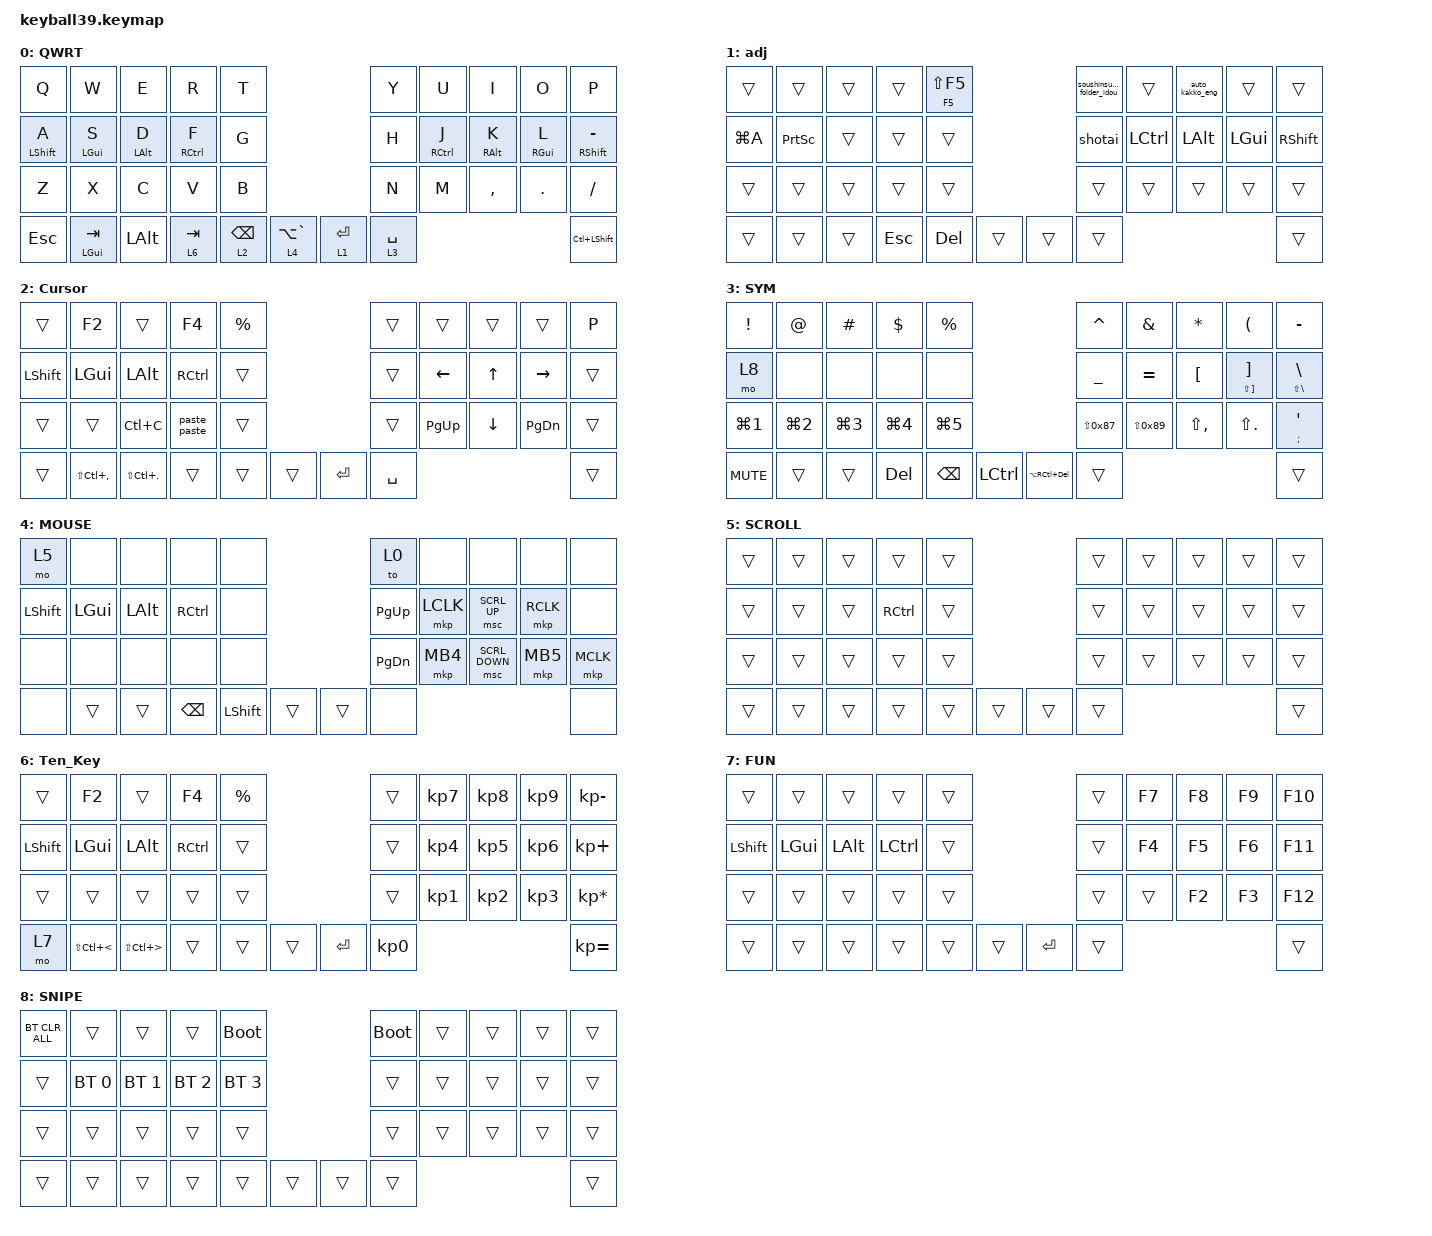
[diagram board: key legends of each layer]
#define DEFAULT 0
#define ADJUSTMENT 1
#define NUM     2
#define SYM     3
#define MOUSE   4
#define SCROLL  5
#define FUN     6
#define SNIPE   7

// OS設定を日本語キーボードのまま使用するための変換定義

#define JP_DQUOTE       AT                // "
#define JP_AMPERSAND    CARET             // &
#define JP_QUOTE        AMPERSAND         // '
#define JP_EQUAL        UNDER             // =
#define JP_CARET        EQUAL             // ^
#define JP_YEN          0x89              // ¥
#define JP_PLUS         COLON             // +
#define JP_TILDE        PLUS              // ~
#define JP_PIPE         LS(0x89)          // |
#define JP_AT           LEFT_BRACKET      // @
#define JP_COLON        SINGLE_QUOTE      // :
#define JP_ASTERISK     DOUBLE_QUOTES     // *
#define JP_BACKQUOTE    LEFT_BRACE        // `
#define JP_UNDERSCORE   LS(0x87)          // _
#define JP_LBRACKET     RIGHT_BRACKET     // [
#define JP_RBRACKET     BACKSLASH         // ]
#define JP_LPAREN       ASTERISK          // (
#define JP_RPAREN       LEFT_PARENTHESIS  // )
#define JP_LBRACE       RIGHT_BRACE       // {
#define JP_RBRACE       PIPE              // }
#define JP_KANA         LANGUAGE_1        // かな
#define JP_EISU         LANGUAGE_2        // 英数
#define JP_HANZEN       GRAVE             // 半角/全角

#include <behaviors/mouse_keys.dtsi>
#include <dt-bindings/zmk/mouse.h>
#include <behaviors.dtsi>
#include <dt-bindings/zmk/bt.h>
#include <dt-bindings/zmk/keys.h>
#include <dt-bindings/zmk/pointing.h>

&lt {
    tapping-term-ms = <170>;
    flavor = "tap-preferred";
    quick-tap-ms = <170>;
};

&mt {
    tapping-term-ms = <170>;
    flavor = "tap-preferred";
    quick-tap-ms = <170>;
};

&caps_word { continue-list = <UNDERSCORE MINUS>; };

/ {
    // custom shift using mod-morph 

    behaviors {
        cmqus: comma_question {
            compatible = "zmk,behavior-mod-morph";
            label = "COMMA_QUESTION";
            #binding-cells = <0>;
            bindings = <&kp COMMA>, <&kp QUESTION>;

            mods = <(MOD_LSFT|MOD_RSFT)>;
        };

        dtsmi: dot_semi {
            compatible = "zmk,behavior-mod-morph";
            label = "DOT_SEMI";
            #binding-cells = <0>;
            bindings = <&kp DOT>, <&kp SEMI>;

            mods = <(MOD_LSFT|MOD_RSFT)>;
        };

        shisokuenzan: shisokuenzan {
            compatible = "zmk,behavior-tap-dance";
            label = "SHISOKUENZAN";
            #binding-cells = <0>;
            bindings = <&kp KP_ASTERISK>, <&kp KP_DIVIDE>, <&kp KP_EQUAL>;

            tapping-term-ms = <200>;
        };

        paste_paste: paste_paste {
            compatible = "zmk,behavior-tap-dance";
            label = "PASTE_PASTE";
            #binding-cells = <0>;
            bindings = <&kp LC(V)>, <&suuchinomi_paste>;
        };

        kakko: kakko {
            compatible = "zmk,behavior-tap-dance";
            label = "KAKKO";
            #binding-cells = <0>;
            bindings = <&kp LS(N8)>, <&kp LS(N9)>;
        };
    };

    macros {
        Hiragana: Hiragana {
            compatible = "zmk,behavior-macro";
            #binding-cells = <0>;
            bindings = <&kp LC(SPACE)>;
            label = "HIRAGANA";
        };

        shotai: new_macro {
            compatible = "zmk,behavior-macro";
            #binding-cells = <0>;
            bindings = <&kp LEFT_ALT &kp H &kp F &kp F>;
            label = "NEW_MACRO";
        };

        suuchinomi_paste: suuchinomi_paste {
            compatible = "zmk,behavior-macro";
            #binding-cells = <0>;
            bindings = <&kp LEFT_ALT &kp H &kp V &kp V>;
            label = "SUUCHINOMI_PASTE";
        };

        soushinsumi_folder_idou: soushinsumi_folder_idou {
            compatible = "zmk,behavior-macro";
            #binding-cells = <0>;
            bindings = <&kp LC(Y) &kp INTERNATIONAL_2 &kp S &kp O &kp U &kp S &kp I &kp N &kp S &kp U &kp M &kp I &kp SPACE &kp KP_ENTER>;
            label = "SOUSHINSUMI_FOLDER_IDOU";
        };

        auto_kakko_eng: auto_kakko {
            compatible = "zmk,behavior-macro";
            #binding-cells = <0>;
            bindings = <&kp INTERNATIONAL_5 &kp LS(N8) &kp LS(N9) &kp LEFT>;
            label = "AUTO_KAKKO";
        };
    };

    combos {
        compatible = "zmk,combos";

        esc {
            bindings = <&kp ESC>;
            key-positions = <0 1>;
        };

        click {
            bindings = <&mkp LCLK>;
            key-positions = <16 17>;
        };

        IME_on {
            bindings = <&kp INT_KATAKANAHIRAGANA>;
            key-positions = <26 27>;
        };

        IME_change {
            bindings = <&kp INTERNATIONAL_5>;
            key-positions = <22 23>;
        };

        home {
            bindings = <&kp HOME>;
            key-positions = <7 8 9>;
        };

        end {
            bindings = <&kp END>;
            key-positions = <17 18 19>;
        };

        right_click {
            bindings = <&mkp RCLK>;
            key-positions = <17 18>;
        };

        Alt_f4 {
            bindings = <&kp RA(F4)>;
            key-positions = <0 9>;
        };
    };

    keymap {
        compatible = "zmk,keymap";

        default_layer {
            label = "QWRT";
            bindings = <
&kp Q             &kp W             &kp E           &kp R                &kp T                                          &kp Y        &kp U                &kp I            &kp O            &kp P
&mt LEFT_SHIFT A  &mt LEFT_GUI S    &mt LEFT_ALT D  &mt RIGHT_CONTROL F  &kp G                                          &kp H        &mt RIGHT_CONTROL J  &mt RIGHT_ALT K  &mt RIGHT_GUI L  &mt RIGHT_SHIFT MINUS
&kp Z             &kp X             &kp C           &kp V                &kp B                                          &kp N        &kp M                &kp COMMA        &kp DOT          &kp SLASH
&kp ESCAPE        &mt LEFT_GUI TAB  &kp LEFT_ALT    &lt 6 TAB            &lt 2 BACKSPACE  &lt 4 LA(GRAVE)  &lt 1 ENTER  &lt 3 SPACE                                                         &kp LC(LEFT_SHIFT)
            >;
        };

        adjustment {
            bindings = <
&trans     &trans           &trans  &trans      &mt F5 LS(F5)                  &soushinsumi_folder_idou  &trans     &auto_kakko_eng  &trans    &trans
&kp LG(A)  &kp PRINTSCREEN  &trans  &trans      &trans                         &shotai                   &kp LCTRL  &kp LALT         &kp LGUI  &kp RSHFT
&trans     &trans           &trans  &trans      &trans                         &trans                    &trans     &trans           &trans    &trans
&trans     &trans           &trans  &kp ESCAPE  &kp DELETE     &trans  &trans  &trans                                                          &trans
            >;

            label = "adj";
        };

        Cursor_layer {
            bindings = <
&trans     &kp F2             &trans              &kp F4             &kp PERCENT                     &trans     &trans     &trans    &trans     &kp P
&kp LSHFT  &kp LEFT_GUI       &kp LEFT_ALT        &kp RIGHT_CONTROL  &trans                          &trans     &kp LEFT   &kp UP    &kp RIGHT  &trans
&trans     &trans             &kp LC(C)           &paste_paste       &trans                          &trans     &kp PG_UP  &kp DOWN  &kp PG_DN  &trans
&trans     &kp LS(LC(COMMA))  &kp LS(LC(PERIOD))  &trans             &trans       &trans  &kp ENTER  &kp SPACE                                  &trans
            >;

            label = "Cursor";
        };

        symbol_layer {
            label = "SYM";
            bindings = <
&kp EXCLAMATION   &kp AT_SIGN       &kp HASH          &kp DOLLAR        &kp PERCENT                                          &kp CARET          &kp AMPERSAND  &kp ASTERISK      &kp LEFT_PARENTHESIS                 &kp MINUS
&mo 8             &none             &none             &none             &none                                                &kp JP_EQUAL       &kp EQUAL      &kp LEFT_BRACKET  &mt LS(RIGHT_BRACKET) RIGHT_BRACKET  &mt LS(BACKSLASH) BACKSLASH
&kp LG(NUMBER_1)  &kp LG(NUMBER_2)  &kp LG(NUMBER_3)  &kp LG(NUMBER_4)  &kp LG(N5)                                           &kp JP_UNDERSCORE  &kp JP_PIPE    &kp LS(COMMA)     &kp LS(PERIOD)                       &mt SEMICOLON SQT
&kp C_MUTE        &trans            &trans            &kp DELETE        &kp BACKSPACE  &kp LEFT_CONTROL  &kp LA(RC(DELETE))  &trans                                                                                   &trans
            >;
        };

        mouse_layer {
            label = "MOUSE";
            bindings = <
&mo 5      &none     &none     &none              &none                           &to 0          &none      &none           &none      &none
&kp LSHFT  &kp LGUI  &kp LALT  &kp RIGHT_CONTROL  &none                           &kp PAGE_UP    &mkp LCLK  &msc SCRL_UP    &mkp RCLK  &none
&none      &none     &none     &none              &none                           &kp PAGE_DOWN  &mkp MB4   &msc SCRL_DOWN  &mkp MB5   &mkp MCLK
&none      &trans    &trans    &kp BACKSPACE      &kp LEFT_SHIFT  &trans  &trans  &none                                                &none
            >;
        };

        scroll_layer {
            label = "SCROLL";
            bindings = <
&trans  &trans  &trans  &trans             &trans                  &trans  &trans  &trans  &trans  &trans
&trans  &trans  &trans  &kp RIGHT_CONTROL  &trans                  &trans  &trans  &trans  &trans  &trans
&trans  &trans  &trans  &trans             &trans                  &trans  &trans  &trans  &trans  &trans
&trans  &trans  &trans  &trans             &trans  &trans  &trans  &trans                          &trans
            >;
        };

        Ten_Key {
            label = "Ten_Key";
            bindings = <
&trans     &kp F2                 &trans                    &kp F4     &kp PERCENT                      &trans           &kp KP_NUMBER_7  &kp KP_NUMBER_8  &kp KP_NUMBER_9  &kp KP_MINUS
&kp LSHFT  &kp LGUI               &kp LALT                  &kp RCTRL  &trans                           &trans           &kp KP_NUMBER_4  &kp KP_NUMBER_5  &kp KP_NUMBER_6  &kp KP_PLUS
&trans     &trans                 &trans                    &trans     &trans                           &trans           &kp KP_NUMBER_1  &kp KP_NUMBER_2  &kp KP_NUMBER_3  &kp KP_MULTIPLY
&mo 7      &kp LS(LC(LESS_THAN))  &kp LS(LC(GREATER_THAN))  &trans     &trans       &trans  &kp RETURN  &kp KP_NUMBER_0                                                     &kp KP_EQUAL
            >;
        };

        function_layer {
            label = "FUN";
            bindings = <
&trans          &trans    &trans    &trans     &trans                     &trans  &kp F7  &kp F8  &kp F9  &kp F10
&kp LEFT_SHIFT  &kp LGUI  &kp LALT  &kp LCTRL  &trans                     &trans  &kp F4  &kp F5  &kp F6  &kp F11
&trans          &trans    &trans    &trans     &trans                     &trans  &trans  &kp F2  &kp F3  &kp F12
&trans          &trans    &trans    &trans     &trans  &trans  &kp ENTER  &trans                          &trans
            >;
        };

        snipe_layer {
            label = "SNIPE";
            bindings = <
&bt BT_CLR_ALL  &trans        &trans        &trans        &bootloader                   &bootloader  &trans  &trans  &trans  &trans
&trans          &bt BT_SEL 0  &bt BT_SEL 1  &bt BT_SEL 2  &bt BT_SEL 3                  &trans       &trans  &trans  &trans  &trans
&trans          &trans        &trans        &trans        &trans                        &trans       &trans  &trans  &trans  &trans
&trans          &trans        &trans        &trans        &trans        &trans  &trans  &trans                               &trans
            >;
        };
    };
};
